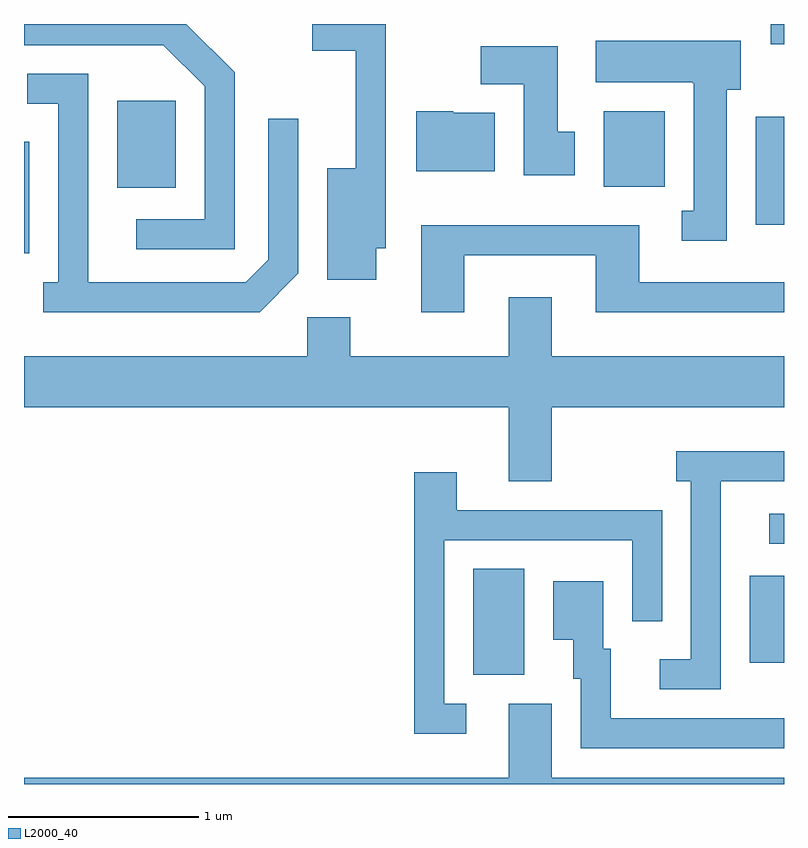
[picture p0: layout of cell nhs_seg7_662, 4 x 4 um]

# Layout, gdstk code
import gdstk
lib = gdstk.Library(unit=1e-6, precision=1e-09)
def R(c, l, rs):  # rectangles x0, y0, x1, y1
    for r in rs: c.add(gdstk.rectangle(r[:2], r[2:], *l))
def P(c, l, *ps):  # polygons
    for p in ps: c.add(gdstk.Polygon(p, *l))
L2000_40 = (2000, 40)

nhs_seg7_662 = lib.new_cell('nhs_seg7_662')
R(nhs_seg7_662, L2000_40, [(205.976,1792.826,206.244,1793.384), (207.431,1792.891,207.611,1793.349), (207.533,1793.516,207.611,1793.674), (203.611,1795.046,203.639,1795.633), (207.461,1795.196,207.611,1795.764), (204.101,1795.391,204.409,1795.849), (206.661,1795.396,206.984,1795.794), (207.541,1796.146,207.611,1796.252)])
P(nhs_seg7_662, L2000_40, [(205.464,1795.071),(205.514,1795.071),(205.514,1796.252),(205.128,1796.252),(205.128,1796.111),(205.356,1796.111),(205.356,1795.494),(205.206,1795.494),(205.206,1794.906),(205.464,1794.906)],
  [(204.719,1795.997),(204.464,1796.252),(203.611,1796.252),(203.611,1796.141),(204.344,1796.141),(204.561,1795.924),(204.561,1795.224),(204.203,1795.224),(204.203,1795.066),(204.719,1795.066)],
  [(207.309,1795.906),(207.384,1795.906),(207.384,1796.164),(206.621,1796.164),(206.621,1795.946),(207.13,1795.946),(207.13,1795.94),(207.136,1795.94),(207.136,1795.269),(207.073,1795.269),(207.073,1795.111),(207.309,1795.111)],
  [(206.509,1795.684),(206.419,1795.684),(206.419,1796.134),(206.016,1796.134),(206.016,1795.936),(206.241,1795.936),(206.241,1795.456),(206.509,1795.456)],
  [(205.054,1794.939),(205.054,1795.753),(204.896,1795.753),(204.896,1795.012),(204.779,1794.894),(203.949,1794.894),(203.949,1795.989),(203.628,1795.989),(203.628,1795.831),(203.791,1795.831),(203.791,1794.894),(203.713,1794.894),(203.713,1794.736),(204.852,1794.736)],
  [(206.089,1795.784),(205.87,1795.784),(205.87,1795.794),(205.676,1795.794),(205.676,1795.476),(206.089,1795.476)],
  [(205.929,1795.036),(206.621,1795.036),(206.621,1794.736),(207.611,1794.736),(207.611,1794.894),(206.849,1794.894),(206.849,1795.194),(205.701,1795.194),(205.701,1794.736),(205.929,1794.736)],
  [(206.389,1794.236),(207.611,1794.236),(207.611,1794.504),(206.389,1794.504),(206.389,1794.814),(206.161,1794.814),(206.161,1794.504),(205.329,1794.504),(205.329,1794.709),(205.101,1794.709),(205.101,1794.504),(203.611,1794.504),(203.611,1794.236),(206.161,1794.236),(206.161,1793.846),(206.389,1793.846)],
  [(207.279,1793.846),(207.611,1793.846),(207.611,1794.004),(207.043,1794.004),(207.043,1793.846),(207.121,1793.846),(207.121,1792.909),(206.958,1792.909),(206.958,1792.751),(207.279,1792.751)],
  [(205.938,1792.674),(205.824,1792.674),(205.824,1793.536),(206.811,1793.536),(206.811,1793.108),(206.969,1793.108),(206.969,1793.694),(205.889,1793.694),(205.889,1793.894),(205.666,1793.894),(205.666,1792.516),(205.938,1792.516)],
  [(207.611,1792.599),(206.699,1792.599),(206.699,1792.964),(206.659,1792.964),(206.659,1793.319),(206.396,1793.319),(206.396,1793.011),(206.501,1793.011),(206.501,1792.806),(206.541,1792.806),(206.541,1792.441),(207.611,1792.441)],
  [(207.611,1792.284),(206.389,1792.284),(206.389,1792.674),(206.161,1792.674),(206.161,1792.284),(203.611,1792.284),(203.611,1792.252),(207.611,1792.252)])

lib.write_gds('nhs_seg7_662.gds')
